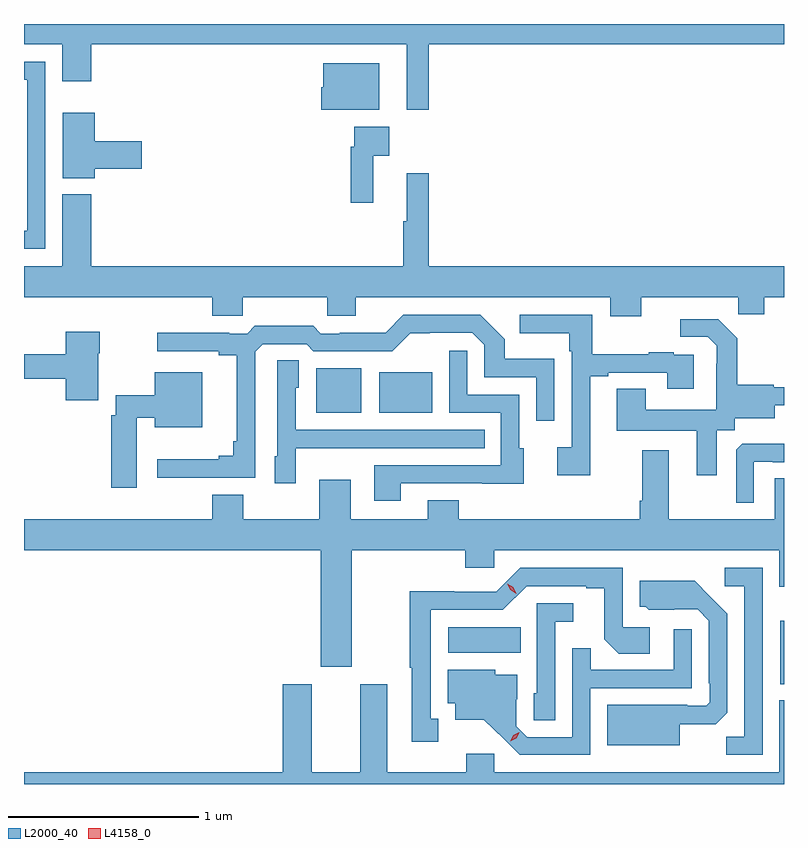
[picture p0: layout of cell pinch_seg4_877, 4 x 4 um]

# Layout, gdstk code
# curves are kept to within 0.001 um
import gdstk
lib = gdstk.Library(unit=1e-6, precision=1e-09)
def R(c, l, rs):  # rectangles x0, y0, x1, y1
    for r in rs: c.add(gdstk.rectangle(r[:2], r[2:], *l))
def P(c, l, *ps):  # polygons
    for p in ps: c.add(gdstk.Polygon(p, *l))
L2000_40 = (2000, 40)
L4158_0 = (4158, 0)

pinch_seg4_877 = lib.new_cell('pinch_seg4_877')
R(pinch_seg4_877, L2000_40, [(735.635,826.751,735.656,827.086), (733.89,826.916,734.27,827.05), (733.193,828.179,733.432,828.415), (733.526,828.179,733.804,828.394)])
P(pinch_seg4_877, L2000_40, [(733.787,830.12),(735.656,830.12),(735.656,830.226),(731.656,830.226),(731.656,830.12),(731.858,830.12),(731.858,829.926),(732.011,829.926),(732.011,830.12),(733.67,830.12),(733.67,829.776),(733.787,829.776)],
  [(731.769,830.028),(731.656,830.028),(731.656,829.932),(731.673,829.932),(731.673,829.139),(731.656,829.139),(731.656,829.044),(731.769,829.044)],
  [(733.525,830.02),(733.232,830.02),(733.232,829.893),(733.22,829.893),(733.22,829.775),(733.525,829.775)],
  [(732.028,829.463),(732.277,829.463),(732.277,829.61),(732.028,829.61),(732.028,829.759),(731.861,829.759),(731.861,829.415),(732.028,829.415)],
  [(733.493,829.532),(733.579,829.532),(733.579,829.684),(733.395,829.684),(733.395,829.58),(733.375,829.58),(733.375,829.284),(733.493,829.284)],
  [(734.905,828.788),(735.415,828.788),(735.415,828.698),(735.553,828.698),(735.553,828.788),(735.656,828.788),(735.656,828.952),(733.787,828.952),(733.787,829.441),(733.67,829.441),(733.67,829.188),(733.651,829.188),(733.651,828.952),(732.011,828.952),(732.011,829.33),(731.858,829.33),(731.858,828.952),(731.656,828.952),(731.656,828.788),(732.647,828.788),(732.647,828.69),(732.807,828.69),(732.807,828.788),(733.252,828.788),(733.252,828.69),(733.402,828.69),(733.402,828.788),(734.741,828.788),(734.741,828.689),(734.905,828.689)],
  [(734.635,828.372),(734.731,828.372),(734.731,828.39),(735.041,828.39),(735.041,828.306),(735.181,828.306),(735.181,828.486),(735.077,828.486),(735.077,828.499),(734.945,828.499),(734.945,828.488),(734.647,828.488),(734.647,828.696),(734.265,828.696),(734.265,828.599),(734.526,828.599),(734.526,828.503),(734.538,828.503),(734.538,827.998),(734.463,827.998),(734.463,827.85),(734.635,827.85)],
  [(732.873,828.501),(732.912,828.54),(733.143,828.54),(733.179,828.504),(733.593,828.504),(733.688,828.599),(734.016,828.6),(734.079,828.537),(734.079,828.366),(734.352,828.366),(734.352,828.138),(734.448,828.138),(734.448,828.463),(734.187,828.463),(734.187,828.566),(734.056,828.696),(733.653,828.696),(733.559,828.602),(733.318,828.602),(733.318,828.597),(733.218,828.597),(733.179,828.637),(732.871,828.637),(732.831,828.597),(732.737,828.597),(732.737,828.602),(732.357,828.602),(732.357,828.504),(732.68,828.504),(732.68,828.482),(732.776,828.482),(732.776,828.031),(732.757,828.031),(732.757,827.954),(732.68,827.954),(732.68,827.935),(732.357,827.935),(732.357,827.838),(732.873,827.838)],
  [(735.301,828.088),(735.396,828.088),(735.396,828.152),(735.607,828.152),(735.607,828.219),(735.656,828.219),(735.656,828.315),(735.603,828.315),(735.603,828.328),(735.411,828.328),(735.411,828.573),(735.311,828.673),(735.111,828.673),(735.111,828.579),(735.255,828.579),(735.302,828.532),(735.302,828.437),(735.3,828.437),(735.3,828.196),(734.929,828.196),(734.929,828.305),(734.777,828.305),(734.777,828.086),(735.197,828.086),(735.197,827.85),(735.301,827.85)],
  [(732.046,828.494),(732.054,828.494),(732.054,828.607),(731.876,828.607),(731.876,828.487),(731.656,828.487),(731.656,828.358),(731.876,828.358),(731.876,828.246),(732.046,828.246)],
  [(733.639,827.808),(734.069,827.808),(734.069,827.807),(734.287,827.807),(734.287,827.994),(734.262,827.994),(734.262,828.276),(733.989,828.276),(733.989,828.505),(733.893,828.505),(733.893,828.18),(734.166,828.18),(734.166,827.904),(733.499,827.904),(733.499,827.718),(733.639,827.718)],
  [(733.086,827.993),(733.403,827.993),(733.403,827.994),(734.081,827.994),(734.081,828.09),(733.086,828.09),(733.086,828.312),(733.102,828.312),(733.102,828.455),(732.99,828.455),(732.99,827.952),(732.977,827.952),(732.977,827.808),(733.086,827.808)],
  [(732.25,828.154),(732.344,828.154),(732.344,828.104),(732.595,828.104),(732.595,828.394),(732.344,828.394),(732.344,828.272),(732.14,828.272),(732.14,828.168),(732.116,828.168),(732.116,827.784),(732.25,827.784)],
  [(735.498,827.922),(735.598,827.922),(735.598,827.919),(735.656,827.919),(735.656,828.017),(735.437,828.017),(735.405,827.985),(735.405,827.705),(735.498,827.705)],
  [(735.632,827.264),(735.656,827.264),(735.656,827.834),(735.606,827.834),(735.606,827.62),(735.049,827.62),(735.049,827.983),(734.909,827.983),(734.909,827.716),(734.897,827.716),(734.897,827.62),(733.945,827.62),(733.945,827.719),(733.781,827.719),(733.781,827.62),(733.375,827.62),(733.375,827.827),(733.211,827.827),(733.211,827.62),(732.811,827.62),(732.811,827.749),(732.647,827.749),(732.647,827.62),(731.656,827.62),(731.656,827.456),(733.217,827.456),(733.217,826.842),(733.381,826.842),(733.381,827.456),(733.979,827.456),(733.979,827.363),(734.13,827.363),(734.13,827.456),(735.632,827.456)],
  [(735.543,827.364),(735.345,827.364),(735.345,827.268),(735.447,827.268),(735.447,826.475),(735.352,826.475),(735.352,826.38),(735.543,826.38)],
  [(733.837,826.569),(733.798,826.569),(733.798,827.142),(734.175,827.142),(734.301,827.268),(734.615,827.268),(734.615,827.256),(734.709,827.256),(734.709,826.988),(734.785,826.912),(734.95,826.912),(734.95,827.052),(734.808,827.052),(734.808,827.364),(734.268,827.364),(734.142,827.238),(733.92,827.238),(733.92,827.24),(733.687,827.24),(733.687,826.837),(733.697,826.837),(733.697,826.449),(733.837,826.449)],
  [(735.106,826.541),(735.298,826.541),(735.357,826.6),(735.357,827.122),(735.185,827.296),(734.897,827.296),(734.897,827.16),(734.928,827.16),(734.944,827.144),(735.201,827.145),(735.261,827.085),(735.261,826.756),(735.264,826.756),(735.264,826.656),(735.246,826.638),(735.146,826.638),(735.146,826.642),(734.726,826.642),(734.726,826.43),(735.106,826.43)],
  [(734.451,827.081),(734.548,827.081),(734.548,827.178),(734.355,827.178),(734.355,826.704),(734.34,826.704),(734.34,826.561),(734.451,826.561)],
  [(734.637,826.731),(735.171,826.731),(735.171,827.041),(735.075,827.041),(735.075,826.827),(734.639,826.827),(734.639,826.94),(734.541,826.94),(734.541,826.473),(734.304,826.473),(734.247,826.53),(734.247,826.672),(734.251,826.672),(734.251,826.801),(734.136,826.801),(734.136,826.828),(733.886,826.828),(733.886,826.652),(733.925,826.652),(733.925,826.565),(734.077,826.565),(734.264,826.38),(734.637,826.38)],
  [(735.656,826.666),(735.632,826.666),(735.632,826.288),(734.13,826.288),(734.13,826.384),(733.984,826.384),(733.984,826.288),(733.567,826.288),(733.567,826.75),(733.427,826.75),(733.427,826.288),(733.171,826.288),(733.171,826.75),(733.019,826.75),(733.019,826.288),(731.656,826.288),(731.656,826.226),(735.656,826.226)])
P(pinch_seg4_877, L4158_0, [(734.248,827.228),(734.216,827.248),(734.199,827.28),(734.199,827.281),(734.2,827.281),(734.231,827.261),(734.248,827.229),(734.248,827.228)],
  [(734.215,826.452),(734.215,826.452),(734.232,826.482),(734.263,826.498),(734.263,826.498),(734.263,826.497),(734.246,826.468),(734.216,826.452)])

lib.write_gds('pinch_seg4_877.gds')
